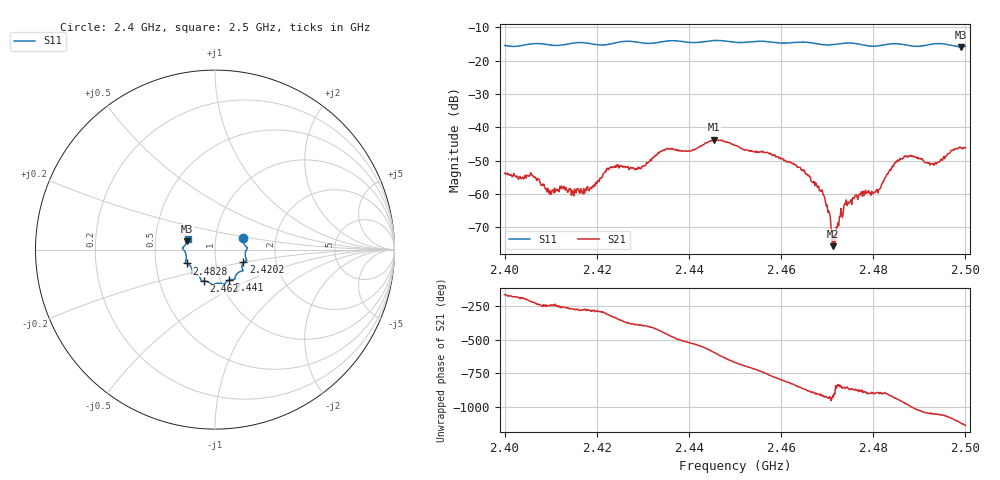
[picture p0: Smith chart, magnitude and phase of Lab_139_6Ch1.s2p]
# Hz S RI R 50
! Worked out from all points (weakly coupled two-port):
!   601 points, 2.4 GHz to 2.5 GHz, reference 50 ohm
!   highest |S21| = -43.70 dB at 2.4455 GHz (marker M1); lowest = -75.7 dB at 2.4712 GHz (marker M2)
!   lowest |S11| = -15.8 dB at 2.499 GHz (marker M3), VSWR 1.39, Z = 36.5 + j3.48 ohm
!   |S11| at or under -10 dB: start of sweep to end of sweep
!   S12 and S22 are empty: the file has one direction only
!   S11 on the Smith chart (normalised r, x): 2.4 GHz: 1.36, +0.18; 2.4202 GHz: 1.36, -0.20; 2.441 GHz: 1.10, -0.39; 2.462 GHz: 0.84, -0.30; 2.4828 GHz: 0.72, -0.11; 2.5 GHz: 0.73, +0.09
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2.4e9  0.1575 0.0629  -0.00195 -0.000524  0 0  0 0
2.409667e9  0.1731 -0.00288  -0.000409 0.000921  0 0  0 0
2.416667e9  0.1776 -0.0599  0.000218 0.00106  0 0  0 0
2.420167e9  0.1583 -0.0707  0.000443 0.00148  0 0  0 0
2.422667e9  0.1496 -0.0939  0.0018 0.00165  0 0  0 0
2.429167e9  0.1441 -0.1207  0.00212 -0.00121  0 0  0 0
2.433333e9  0.1124 -0.151  0.00149 -0.00389  0 0  0 0
2.441e9  0.0786 -0.1696  -0.00458 -0.000702  0 0  0 0
2.4455e9  0.0518 -0.1944  -0.00354 0.00549  0 0  0 0
2.45e9  0.0287 -0.187  0.00352 0.00402  0 0  0 0
2.462e9  -0.0604 -0.1754  -0.000677 -0.00291  0 0  0 0
2.466667e9  -0.0779 -0.1682  -0.0015 -0.000226  0 0  0 0
2.469167e9  -0.0883 -0.1496  -0.000916 0.000263  0 0  0 0
2.471167e9  -0.106 -0.1377  -0.000155 5.13e-05  0 0  0 0
2.474167e9  -0.1251 -0.1351  -0.00059 -0.000552  0 0  0 0
2.481e9  -0.1429 -0.0863  -0.00103 -0.000105  0 0  0 0
2.482833e9  -0.1576 -0.0772  -0.00188 9.26e-05  0 0  0 0
2.483333e9  -0.1607 -0.0759  -0.0021 0.000433  0 0  0 0
2.487167e9  -0.1615 -0.0588  -0.000597 0.00363  0 0  0 0
2.492833e9  -0.1778 0.00337  0.00249 0.00129  0 0  0 0
2.499e9  -0.1547 0.0465  0.00364 -0.00331  0 0  0 0
2.5e9  -0.1516 0.0608  0.00245 -0.00426  0 0  0 0
